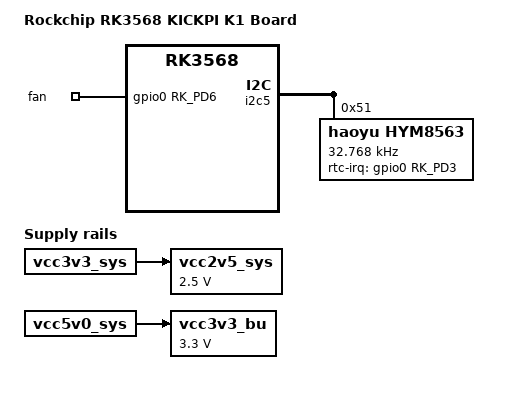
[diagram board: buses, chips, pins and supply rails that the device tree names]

// SPDX-License-Identifier: (GPL-2.0+ OR MIT)
/*
 * Copyright (c) 2020 Rockchip Electronics Co., Ltd.
 *
 */

/dts-v1/;

#include <dt-bindings/gpio/gpio.h>
#include <dt-bindings/pinctrl/rockchip.h>
#include <dt-bindings/display/rockchip_vop.h>
#include "rk3568.dtsi"
#include "rk3568-kickpi-evb.dtsi"

// LCD
#include "rk3568-kickpi-lcd-hdmi.dtsi"
//#include "rk3568-kickpi-lcd-edp-15.6-1920-1080.dtsi"
//#include "rk3568-kickpi-lcd-mipi0-10.1-800-1280.dtsi"
//#include "rk3568-kickpi-lcd-mipi1-10.1-800-1280.dtsi"
//#include "rk3568-kickpi-lcd-mipi0-10.1-800-1280-v2.dtsi"
//#include "rk3568-kickpi-lcd-mipi1-10.1-800-1280-v2.dtsi"
//#include "rk3568-kickpi-lcd-lvds0-7-1024-600.dtsi"
//#include "rk3568-kickpi-lcd-lvds1-7-1024-600.dtsi"
//#include "rk3568-kickpi-lcd-mipi0-5-720-1280.dtsi"
//#include "rk3568-kickpi-lcd-mipi1-5-720-1280.dtsi"
// #include "rk3568-kickpi-lcd-mipi0-8-800-1280.dtsi"
// #include "rk3568-kickpi-lcd-mipi1-8-800-1280.dtsi"
 

 
// Triple LCD
//#include "rk3568-kickpi-triple-lcd-hdmi-mipi1-lvds.dtsi"
//#include "rk3568-kickpi-triple-lcd-edp-mipi1-lvds.dtsi"
// #include "rk3568-kickpi-dual-lcd-mipi0-mipi1.dtsi"

// Network
#include "rk3568-kickpi-eth-gmac0.dtsi"
#include "rk3568-kickpi-eth-gmac1.dtsi"
#include "rk3568-kickpi-wifibt.dtsi"

// Camera
#include "rk3568-kickpi-mipi-camera-gc5035.dtsi"

// Other
#include "rk3568-kickpi-usb.dtsi"
#include "rk3568-kickpi-ir.dtsi"
#include "rk3568-kickpi-sata.dtsi"
#include "rk3568-kickpi-pcie.dtsi"
#include "rk3568-kickpi-extend-40pin.dtsi"


/ {
	model = "Rockchip RK3568 KICKPI K1 Board";
	compatible = "rockchip,rk3568-kickpi-k1", "rockchip,rk3568";

	vcc2v5_sys: vcc2v5-ddr {
		compatible = "regulator-fixed";
		regulator-name = "vcc2v5-sys";
		regulator-always-on;
		regulator-boot-on;
		regulator-min-microvolt = <2500000>;
		regulator-max-microvolt = <2500000>;
		vin-supply = <&vcc3v3_sys>;
	};

	vcc3v3_bu: vcc3v3-bu {
		compatible = "regulator-fixed";
		regulator-name = "vcc3v3_bu";
		regulator-always-on;
		regulator-boot-on;
		regulator-min-microvolt = <3300000>;
		regulator-max-microvolt = <3300000>;
		vin-supply = <&vcc5v0_sys>;
	};
/*
	fan0: gpio-fan {
		#cooling-cells = <2>;
		compatible = "gpio-fan";
		gpio-fan,speed-map = <0 0 
								3000 1>;
		gpios = <&gpio0 RK_PD6 GPIO_ACTIVE_HIGH>;
		status = "okay";
	};
	*/
};

&leds {
    fan {
        gpios = <&gpio0 RK_PD6 GPIO_ACTIVE_HIGH>;
        default-state = "on";
    };
};

&rk809_sound {
	spk-det-gpio = <&gpio4 RK_PC6 GPIO_ACTIVE_LOW>;
	hp-det-gpio = <&gpio1 RK_PD3 GPIO_ACTIVE_HIGH>;
	pinctrl-names = "default";
	pinctrl-0 = <&hp_det>;
	hp-volume = <20>;
	spk-volume = <30>;
};

&i2c5 {
	status = "okay";

	hym8563: hym8563@51 {
		compatible = "haoyu,hym8563";
		reg = <0x51>;
		#clock-cells = <0>;
		clock-frequency = <32768>;
		clock-output-names = "hym8563";
		// IRQ GPIO IS MODIFYED FOR UPDATE HYM8562 DRIVER 
		rtc-irq-gpio = <&gpio0 RK_PD3 IRQ_TYPE_EDGE_FALLING>;
	};
	
};

&pinctrl {
	headphone {
		hp_det: hp-det {
			rockchip,pins = <1 RK_PD3 RK_FUNC_GPIO &pcfg_pull_up>;
		};
	};
};
